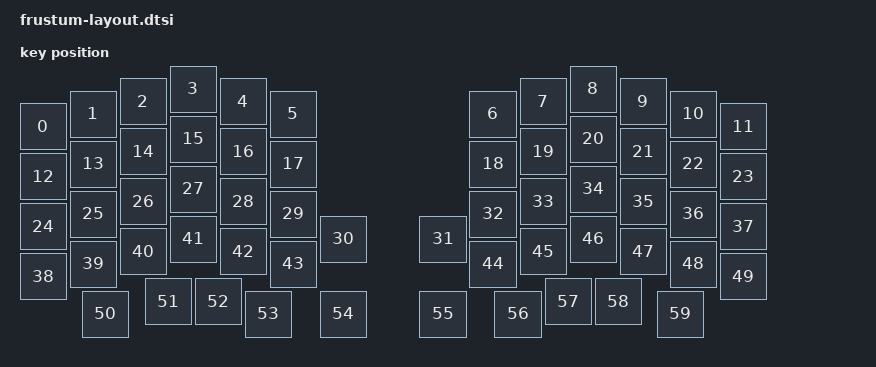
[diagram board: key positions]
#include <physical_layouts.dtsi>


/ {
    physical_layout0: physical_layout0 {
        compatible = "zmk,physical-layout";
        display-name = "Default";
        transform = <&default_transform>;
        // kscan = <&kscan0>;

        // each block is a full row of 12 keys
        keys  //                     w   h    x    y     rot    rx    ry
            // row 0
            = <&key_physical_attrs 100 100    0  75        0     0     0>
            , <&key_physical_attrs 100 100  100  50        0     0     0>
            , <&key_physical_attrs 100 100  200  25        0     0     0>
            , <&key_physical_attrs 100 100  300   0        0     0     0>
            , <&key_physical_attrs 100 100  400  25        0     0     0>
            , <&key_physical_attrs 100 100  500  50        0     0     0>

            , <&key_physical_attrs 100 100  900  50        0     0     0>
            , <&key_physical_attrs 100 100 1000  25        0     0     0>
            , <&key_physical_attrs 100 100 1100   0        0     0     0>
            , <&key_physical_attrs 100 100 1200  25        0     0     0>
            , <&key_physical_attrs 100 100 1300  50        0     0     0>
            , <&key_physical_attrs 100 100 1400  75        0     0     0>

            // row 1
            , <&key_physical_attrs 100 100    0  175       0     0     0>
            , <&key_physical_attrs 100 100  100  150       0     0     0>
            , <&key_physical_attrs 100 100  200  125       0     0     0>
            , <&key_physical_attrs 100 100  300  100       0     0     0>
            , <&key_physical_attrs 100 100  400  125       0     0     0>
            , <&key_physical_attrs 100 100  500  150       0     0     0>

            , <&key_physical_attrs 100 100  900  150       0     0     0>
            , <&key_physical_attrs 100 100 1000  125       0     0     0>
            , <&key_physical_attrs 100 100 1100  100       0     0     0>
            , <&key_physical_attrs 100 100 1200  125       0     0     0>
            , <&key_physical_attrs 100 100 1300  150       0     0     0>
            , <&key_physical_attrs 100 100 1400  175       0     0     0>

            // row 2
            , <&key_physical_attrs 100 100    0  275       0     0     0>
            , <&key_physical_attrs 100 100  100  250       0     0     0>
            , <&key_physical_attrs 100 100  200  225       0     0     0>
            , <&key_physical_attrs 100 100  300  200       0     0     0>
            , <&key_physical_attrs 100 100  400  225       0     0     0>
            , <&key_physical_attrs 100 100  500  250       0     0     0>
            , <&key_physical_attrs 100 100  600  300       0     0     0>
            
            , <&key_physical_attrs 100 100  800  300       0     0     0>
            , <&key_physical_attrs 100 100  900  250       0     0     0>
            , <&key_physical_attrs 100 100 1000  225       0     0     0>
            , <&key_physical_attrs 100 100 1100  200       0     0     0>
            , <&key_physical_attrs 100 100 1200  225       0     0     0>
            , <&key_physical_attrs 100 100 1300  250       0     0     0>
            , <&key_physical_attrs 100 100 1400  275       0     0     0>

            // row 3
            , <&key_physical_attrs 100 100    0  375       0     0     0>
            , <&key_physical_attrs 100 100  100  350       0     0     0>
            , <&key_physical_attrs 100 100  200  325       0     0     0>
            , <&key_physical_attrs 100 100  300  300       0     0     0>
            , <&key_physical_attrs 100 100  400  325       0     0     0>
            , <&key_physical_attrs 100 100  500  350       0     0     0>
            
            , <&key_physical_attrs 100 100  900  350       0     0     0>
            , <&key_physical_attrs 100 100 1000  325       0     0     0>
            , <&key_physical_attrs 100 100 1100  300       0     0     0>
            , <&key_physical_attrs 100 100 1200  325       0     0     0>
            , <&key_physical_attrs 100 100 1300  350       0     0     0>
            , <&key_physical_attrs 100 100 1400  375       0     0     0>

            // row 4
            , <&key_physical_attrs 100 100  125  450       0     0     0>
            , <&key_physical_attrs 100 100  250  425       0     0     0>
            , <&key_physical_attrs 100 100  350  425       0     0     0>
            , <&key_physical_attrs 100 100  450  450       0     0     0>
            , <&key_physical_attrs 100 100  600  450       0     0     0>
            
            , <&key_physical_attrs 100 100  800  450       0     0     0>
            , <&key_physical_attrs 100 100  950  450       0     0     0>
            , <&key_physical_attrs 100 100 1050  425       0     0     0>
            , <&key_physical_attrs 100 100 1150  425       0     0     0>
            , <&key_physical_attrs 100 100 1275  450       0     0     0>
            ;
    };
};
